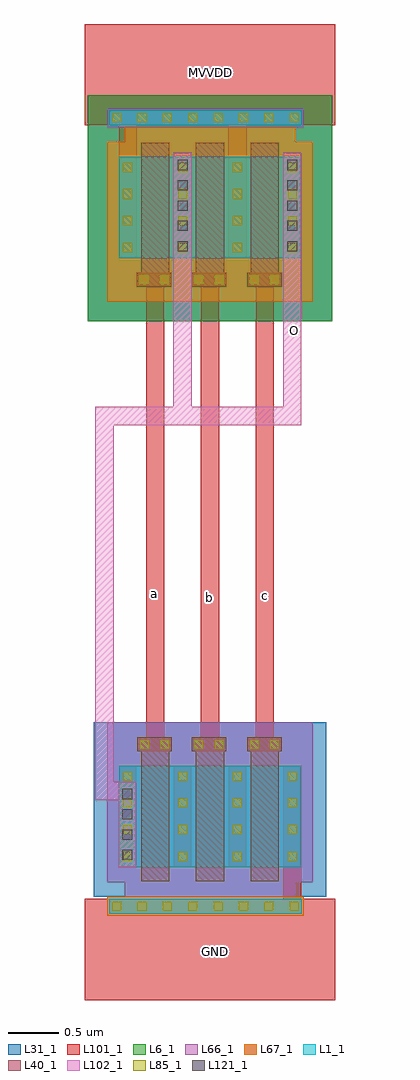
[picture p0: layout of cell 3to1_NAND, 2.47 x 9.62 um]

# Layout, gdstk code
import gdstk
lib = gdstk.Library(unit=1e-6, precision=1e-09)
def R(c, l, rs):  # rectangles x0, y0, x1, y1
    for r in rs: c.add(gdstk.rectangle(r[:2], r[2:], *l))
def A(c, l, x, y, w, h, nx, ny, dx, dy):  # array of equal rectangles
    R(c, l, [(x+i*dx, y+j*dy, x+i*dx+w, y+j*dy+h) for i in range(nx) for j in range(ny)])
L1_1 = (1, 1)
L6_1 = (6, 1)
L31_1 = (31, 1)
L40_1 = (40, 1)
L66_1 = (66, 1)
L67_1 = (67, 1)
L85_1 = (85, 1)
L101_1 = (101, 1)
L102_1 = (102, 1)
L121_1 = (121, 1)

m1_nw__193502252 = lib.new_cell('M1_NW$$193502252')
R(m1_nw__193502252, L1_1, [(-0.075,-0.075,1.825,0.075)])
R(m1_nw__193502252, L6_1, [(-0.225,-0.225,1.975,0.225)])
R(m1_nw__193502252, L66_1, [(-0.095,-0.095,1.845,0.095)])
A(m1_nw__193502252, L85_1, -0.045, -0.045, 0.09, 0.09, 8, 1, 0.25, 0)
R(m1_nw__193502252, L101_1, [(-0.07,-0.07,1.82,0.07)])

m1_sub__193499180 = lib.new_cell('M1_SUB$$193499180')
R(m1_sub__193499180, L1_1, [(-0.075,-0.075,1.825,0.075)])
R(m1_sub__193499180, L67_1, [(-0.095,-0.095,1.845,0.095)])
A(m1_sub__193499180, L85_1, -0.045, -0.045, 0.09, 0.09, 8, 1, 0.25, 0)
R(m1_sub__193499180, L101_1, [(-0.07,-0.07,1.82,0.07)])

m2m1_r__193497132 = lib.new_cell('M2M1_R$$193497132')
R(m2m1_r__193497132, L101_1, [(-0.09,-0.12,0.09,0.72)])
R(m2m1_r__193497132, L102_1, [(-0.09,-0.12,0.09,0.72)])
A(m2m1_r__193497132, L121_1, -0.05, -0.05, 0.1, 0.1, 1, 4, 0, 0.2)

m2m1_r__193496108 = lib.new_cell('M2M1_R$$193496108')
R(m2m1_r__193496108, L101_1, [(-0.09,-0.12,0.09,0.92)])
R(m2m1_r__193496108, L102_1, [(-0.09,-0.12,0.09,0.92)])
A(m2m1_r__193496108, L121_1, -0.05, -0.05, 0.1, 0.1, 1, 5, 0, 0.2)

m1_po__193494060 = lib.new_cell('M1_PO$$193494060')
R(m1_po__193494060, L40_1, [(-0.17,-0.07,0.17,0.07)])
R(m1_po__193494060, L85_1, [(-0.145,-0.045,-0.055,0.045), (0.055,-0.045,0.145,0.045)])
R(m1_po__193494060, L101_1, [(-0.17,-0.07,0.17,0.07)])

p25_lp__195825708 = lib.new_cell('p25_lp$$195825708')
R(p25_lp__195825708, L1_1, [(-0.215,0,0,1), (0,0,0.28,1), (0.28,0,0.495,1)])
R(p25_lp__195825708, L6_1, [(-0.525,-0.31,0.805,1.31)])
R(p25_lp__195825708, L31_1, [(-0.525,-0.31,0.805,1.31)])
R(p25_lp__195825708, L40_1, [(0,-0.14,0.28,-0.05), (0,-0.05,0.28,0), (0,0,0.28,1), (0,1,0.28,1.05), (0,1.05,0.28,1.14)])
R(p25_lp__195825708, L67_1, [(-0.16,-0.29,0.44,1.29), (-0.335,-0.15,0.615,1.15)])
A(p25_lp__195825708, L85_1, -0.175, 0.06, 0.09, 0.09, 1, 3, 0, 0.265)
A(p25_lp__195825708, L85_1, 0.365, 0.06, 0.09, 0.09, 1, 3, 0, 0.265)
R(p25_lp__195825708, L85_1, [(-0.175,0.85,-0.085,0.94), (0.365,0.85,0.455,0.94)])
R(p25_lp__195825708, L101_1, [(-0.215,0,-0.045,1), (0.325,0,0.495,1)])
p25_lp__195825708.add(gdstk.Label('& Product "HLMC 55nm LP 1.0/2.5V PDK"', (0.081,0.017), layer=161, texttype=6))
p25_lp__195825708.add(gdstk.Label('G', (0.14,-0.096), layer=161, texttype=6))
p25_lp__195825708.add(gdstk.Label('G', (0.14,1.094), layer=161, texttype=6))
p25_lp__195825708.add(gdstk.Label('D', (0.41,0.499), layer=161, texttype=6))
p25_lp__195825708.add(gdstk.Label('S', (-0.13,0.499), layer=161, texttype=6))
p25_lp__195825708.add(gdstk.Label('[@instanceName]', (0.14,0.499), layer=161, texttype=6))

n25_lp__195823660 = lib.new_cell('n25_lp$$195823660')
R(n25_lp__195823660, L1_1, [(-0.215,0,0,1), (0,0,0.28,1), (0.28,0,0.495,1)])
R(n25_lp__195823660, L31_1, [(-0.465,-0.25,0.745,1.25)])
R(n25_lp__195823660, L40_1, [(0,-0.14,0.28,-0.05), (0,-0.05,0.28,0), (0,0,0.28,1), (0,1,0.28,1.05), (0,1.05,0.28,1.14)])
R(n25_lp__195823660, L66_1, [(-0.16,-0.29,0.44,1.29), (-0.335,-0.15,0.615,1.15)])
A(n25_lp__195823660, L85_1, -0.175, 0.06, 0.09, 0.09, 1, 3, 0, 0.265)
A(n25_lp__195823660, L85_1, 0.365, 0.06, 0.09, 0.09, 1, 3, 0, 0.265)
R(n25_lp__195823660, L85_1, [(-0.175,0.85,-0.085,0.94), (0.365,0.85,0.455,0.94)])
R(n25_lp__195823660, L101_1, [(-0.215,0,-0.045,1), (0.325,0,0.495,1)])
n25_lp__195823660.add(gdstk.Label('& Product "HLMC 55nm LP 1.0/2.5V PDK"', (0.081,0.017), layer=161, texttype=6))
n25_lp__195823660.add(gdstk.Label('G', (0.14,-0.096), layer=161, texttype=6))
n25_lp__195823660.add(gdstk.Label('G', (0.14,1.094), layer=161, texttype=6))
n25_lp__195823660.add(gdstk.Label('D', (0.41,0.499), layer=161, texttype=6))
n25_lp__195823660.add(gdstk.Label('S', (-0.13,0.499), layer=161, texttype=6))
n25_lp__195823660.add(gdstk.Label('[@instanceName]', (0.14,0.499), layer=161, texttype=6))

c_3to1_nand = lib.new_cell('3to1_NAND')
R(c_3to1_nand, L6_1, [(-0.19,5.67,2.22,6.425), (-0.19,7.41,2.22,7.9)])
R(c_3to1_nand, L31_1, [(-0.13,0,2.16,1.72), (-0.19,5.67,2.22,7.9)])
R(c_3to1_nand, L66_1, [(0,1.295,2.03,1.72)])
R(c_3to1_nand, L67_1, [(0,5.86,2.03,6.17)])
c_3to1_nand.add(gdstk.FlexPath([(0.745,6.455),(0.745,4.735)], 0.18, ends="flush", simple_path=True, layer=102, datatype=1))  # L102_1
c_3to1_nand.add(gdstk.FlexPath([(0.29,1.04),(-0.025,1.04),(-0.025,4.735),(1.825,4.735),(1.825,7.33)], 0.18, ends="flush", simple_path=True, layer=102, datatype=1))  # L102_1
c_3to1_nand.add(gdstk.FlexPath([(1.555,6.14),(1.555,1.48)], 0.18, ends="flush", simple_path=True, layer=101, datatype=1))  # L101_1
c_3to1_nand.add(gdstk.FlexPath([(1.015,6.14),(1.015,1.48)], 0.18, ends="flush", simple_path=True, layer=101, datatype=1))  # L101_1
c_3to1_nand.add(gdstk.FlexPath([(0.475,6.14),(0.475,1.48)], 0.18, ends="flush", simple_path=True, layer=101, datatype=1))  # L101_1
c_3to1_nand.add(gdstk.FlexPath([(1.825,-0.165),(1.825,1.29)], 0.18, ends="flush", simple_path=True, layer=101, datatype=1))  # L101_1
c_3to1_nand.add(gdstk.FlexPath([(1.285,6.29),(1.285,7.745)], 0.18, ends="flush", simple_path=True, layer=101, datatype=1))  # L101_1
c_3to1_nand.add(gdstk.FlexPath([(0.205,6.29),(0.205,7.745)], 0.18, ends="flush", simple_path=True, layer=101, datatype=1))  # L101_1
c_3to1_nand.add(gdstk.FlexPath([(-0.22,-0.52),(2.25,-0.52)], 1, ends="flush", simple_path=True, layer=101, datatype=1))  # L101_1
c_3to1_nand.add(gdstk.FlexPath([(-0.22,8.1),(2.25,8.1)], 1, ends="flush", simple_path=True, layer=101, datatype=1))  # L101_1
c_3to1_nand.add(gdstk.Reference(m1_nw__193502252, (0.095,7.675)))
c_3to1_nand.add(gdstk.Reference(m1_sub__193499180, (0.095,-0.095)))
c_3to1_nand.add(gdstk.Reference(m2m1_r__193497132, (0.2,0.41)))
c_3to1_nand.add(gdstk.Reference(m2m1_r__193496108, (1.825,6.41)))
c_3to1_nand.add(gdstk.Reference(m2m1_r__193496108, (0.745,6.41)))
c_3to1_nand.add(gdstk.Reference(m1_po__193494060, (1.55,1.5)))
c_3to1_nand.add(gdstk.Reference(m1_po__193494060, (1.005,1.5)))
c_3to1_nand.add(gdstk.Reference(m1_po__193494060, (0.47,1.5)))
c_3to1_nand.add(gdstk.Reference(m1_po__193494060, (1.55,6.08)))
c_3to1_nand.add(gdstk.Reference(m1_po__193494060, (1.005,6.08)))
c_3to1_nand.add(gdstk.Reference(m1_po__193494060, (0.465,6.08)))
c_3to1_nand.add(gdstk.Reference(p25_lp__195825708, (0.335,6.29)))
c_3to1_nand.add(gdstk.Reference(p25_lp__195825708, (0.875,6.29)))
c_3to1_nand.add(gdstk.Reference(p25_lp__195825708, (1.415,6.29)))
c_3to1_nand.add(gdstk.Reference(n25_lp__195823660, (0.335,0.29)))
c_3to1_nand.add(gdstk.Reference(n25_lp__195823660, (0.875,0.29)))
c_3to1_nand.add(gdstk.Reference(n25_lp__195823660, (1.415,0.29)))
c_3to1_nand.add(gdstk.Label('O', (1.85,5.58), layer=102, texttype=6))
c_3to1_nand.add(gdstk.Label('c', (1.565,2.965), layer=101, texttype=6))
c_3to1_nand.add(gdstk.Label('b', (1.01,2.945), layer=101, texttype=6))
c_3to1_nand.add(gdstk.Label('a', (0.465,2.99), layer=101, texttype=6))
c_3to1_nand.add(gdstk.Label('GND', (1.07,-0.545), layer=101, texttype=6))
c_3to1_nand.add(gdstk.Label('MVVDD', (1.015,8.125), layer=101, texttype=6))

lib.write_gds('3to1_NAND.gds')
